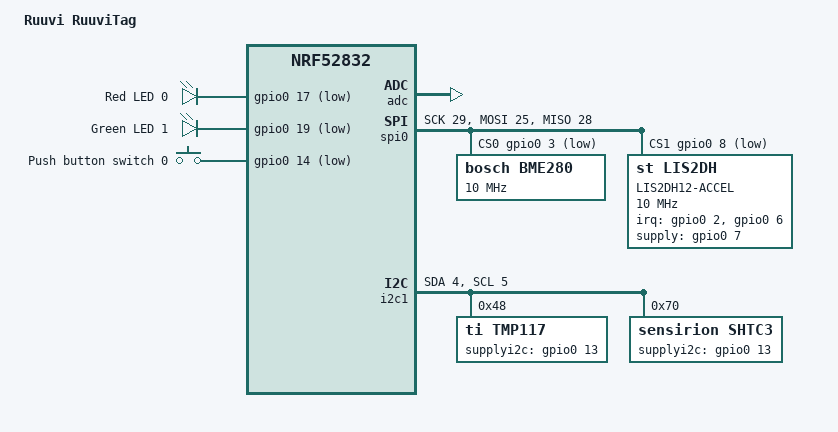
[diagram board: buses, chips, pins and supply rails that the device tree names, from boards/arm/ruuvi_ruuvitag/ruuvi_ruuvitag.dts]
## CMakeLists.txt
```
#
# Copyright (c) 2018 Nordic Semiconductor
#
# SPDX-License-Identifier: LicenseRef-Nordic-5-Clause
#
cmake_minimum_required(VERSION 3.20.0)

# Add external Drivers
list(APPEND ZEPHYR_EXTRA_MODULES ${CMAKE_CURRENT_SOURCE_DIR}/drivers/lis2dh12)
list(APPEND ZEPHYR_EXTRA_MODULES ${CMAKE_CURRENT_SOURCE_DIR}/drivers/tmp117)
list(APPEND ZEPHYR_EXTRA_MODULES ${CMAKE_CURRENT_SOURCE_DIR}/drivers/shtc3)


# Add the board
set(BOARD_ROOT ${CMAKE_CURRENT_LIST_DIR})

find_package(Zephyr REQUIRED HINTS $ENV{ZEPHYR_BASE})
project(ruuvitag)

target_sources(app PRIVATE src/main.c)

zephyr_include_directories(src)

add_subdirectory(src/led_handler)
add_subdirectory(src/button_handler)
add_subdirectory(src/board_info)
add_subdirectory(src/ruuvi_endpoint)
add_subdirectory(src/nfc_handler)
add_subdirectory(src/bt_handler)

###############Sensors###############
add_subdirectory(src/sensor_handler)
add_subdirectory(src/battery_handler)
add_subdirectory_ifdef(CONFIG_TMP117 src/tmp117_handler)
add_subdirectory_ifdef(CONFIG_BME280 src/bme280_handler)
add_subdirectory_ifdef(CONFIG_LIS2DH12 src/lis2dh12_handler)
add_subdirectory_ifdef(CONFIG_SHTC3 src/shtc3_handler)
```

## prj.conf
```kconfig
#
# Copyright (c) 2018 Nordic Semiconductor
#
# SPDX-License-Identifier: LicenseRef-Nordic-5-Clause
#

# Enable rebooting
CONFIG_REBOOT=y

#Power Management
CONFIG_BOARD_ENABLE_DCDC=y
CONFIG_PM=y
CONFIG_PM_DEVICE=y
CONFIG_PM_DEVICE_RUNTIME=y

#Enable Hardware Info - allows serial to be retrieved
CONFIG_HWINFO=y
CONFIG_HWINFO_NRF=y

#Enable Peripheral Drivers
CONFIG_SPI=y
CONFIG_I2C=y
CONFIG_GPIO=y
CONFIG_ADC=y
CONFIG_ADC_ASYNC=y


#Enable Sensors Drivers
CONFIG_SENSOR=y
CONFIG_TMP117=n
CONFIG_BME280=n
CONFIG_SHTC3=y
CONFIG_DPS310=n
CONFIG_LIS2DH12=y


CONFIG_APPLICATION_DEFINED_SYSCALL=y

CONFIG_HEAP_MEM_POOL_SIZE=2048

#Enable Bluetooth API's
CONFIG_BT=y
CONFIG_BT_BROADCASTER=y
CONFIG_BT_PERIPHERAL=y
CONFIG_BT_GATT_CLIENT=y
CONFIG_BT_GATT_CACHING=n

CONFIG_BT_DEVICE_NAME="Ruuvi"
CONFIG_BT_DEVICE_APPEARANCE=833
CONFIG_BT_MAX_CONN=1
CONFIG_BT_MAX_PAIRED=1
CONFIG_BT_BAS=y

# Enable DIS Service
CONFIG_BT_DIS=y
CONFIG_BT_DIS_PNP=n
CONFIG_BT_DIS_MODEL="NRF52DK33"
CONFIG_BT_DIS_MANUF="Nordisk"
CONFIG_BT_DIS_SERIAL_NUMBER=n
CONFIG_BT_DIS_FW_REV=y
CONFIG_BT_DIS_HW_REV=y
CONFIG_BT_DIS_SW_REV=n
CONFIG_BT_DIS_SERIAL_NUMBER_STR="1"
CONFIG_BT_DIS_FW_REV_STR="Zephyr FW v0.0.1"
CONFIG_BT_DIS_HW_REV_STR="Check BCP"
CONFIG_BT_DIS_SW_REV_STR=""
CONFIG_BT_DIS_SETTINGS=y
CONFIG_BT_DIS_STR_MAX=21
CONFIG_SETTINGS=y

# Enable the NUS service
CONFIG_BT_NUS=n

CONFIG_NFC_T2T_NRFXLIB=y
CONFIG_NFC_NDEF=y
CONFIG_NFC_NDEF_MSG=y
CONFIG_NFC_NDEF_RECORD=y
CONFIG_NFC_NDEF_TEXT_RECORD=y

# Needed for full libC library
CONFIG_NEWLIB_LIBC=y

# Config logger
CONFIG_LOG=y
CONFIG_USE_SEGGER_RTT=y

# Enable bonding
CONFIG_BT_SETTINGS=y
CONFIG_SETTINGS_RUNTIME=y
CONFIG_SETTINGS=y
CONFIG_SETTINGS_NONE=y

#Increase Stack Size
CONFIG_SYSTEM_WORKQUEUE_STACK_SIZE=4096

# Needed for full libC library
CONFIG_NEWLIB_LIBC=y
```

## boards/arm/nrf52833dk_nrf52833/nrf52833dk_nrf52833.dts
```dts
/*
 * Copyright (c) 2019 Nordic Semiconductor ASA
 * Modification  Lueger 12.12.2021
 * SPDX-License-Identifier: Apache-2.0
 */

/dts-v1/;
#include <nordic/nrf52833_qiaa.dtsi>

/ {
	model = "Nordic nRF52833 DK NRF52833";
	compatible = "nordic,nrf52833-dk-nrf52833";

	chosen {
		zephyr,console = &uart0;
		zephyr,shell-uart = &uart0;
		zephyr,uart-mcumgr = &uart0;
		zephyr,bt-mon-uart = &uart0;
		zephyr,bt-c2h-uart = &uart0;
		zephyr,sram = &sram0;
		zephyr,flash = &flash0;
		zephyr,code-partition = &slot0_partition;
	};

	leds {
		compatible = "gpio-leds";
		led0: led_0 {
			gpios = <&gpio0 13 GPIO_ACTIVE_LOW>;
			label = "Green LED 0";
		};
		led1: led_1 {
			gpios = <&gpio0 14 GPIO_ACTIVE_LOW>;
			label = "Green LED 1";
		};
	};

	pwmleds {
		compatible = "pwm-leds";
		pwm_led0: pwm_led_0 {
			pwms = <&pwm0 17>;
		};
	};

	buttons {
		compatible = "gpio-keys";
		button0: button_0 {
			gpios = <&gpio0 11 (GPIO_PULL_UP | GPIO_ACTIVE_LOW)>;
			label = "Push button switch 0";
		};
		button1: button_1 {
			gpios = <&gpio0 12 (GPIO_PULL_UP | GPIO_ACTIVE_LOW)>;
			label = "Push button switch 1";
		};
		
	};

	/* These aliases are provided for compatibility with samples */
	aliases {
		led0 = &led0;
		led1 = &led1;
		pwm-led0 = &pwm_led0;
		sw0 = &button0;
		sw1 = &button1;
		bootloader-led0 = &led0;
		usbd0 = &usbd;
		
		};
};

&adc {
	status = "okay";
};

&gpiote {
	status = "okay";
};

&gpio0 {
	status = "okay";
};

&gpio1 {
	status = "okay";
};

&uart0 {
	compatible = "nordic,nrf-uarte";
	status = "okay";
	current-speed = <115200>;
	tx-pin = <20>;
	rx-pin = <19>;
	rts-pin = <18>;
	cts-pin = <17>;
};

/*
arduino_serial: &uart1 {
	status = "okay";
	current-speed = <115200>;
	rx-pin = <33>;
	tx-pin = <34>;
};
*/



&pwm0 {
	status = "okay";
	ch0-pin = <19>;
	ch0-inverted;
};

&spi0 {
	compatible = "nordic,nrf-spi";
	status = "okay";
	
	miso-pin = <31>;
        sck-pin = <30>;
        mosi-pin = <29>;

	cs-gpios = <&gpio0 28 GPIO_ACTIVE_LOW>;
        
	ecg0:ti_ads1292@0 {
		compatible = "ti,ads1292";
		reg = <0>;
		spi-max-frequency = <125000>;
		label= "ADS1292";
                supply-gpios = <&gpio1 4 GPIO_ACTIVE_HIGH>;
                int-gpios = <&gpio0 20 GPIO_ACTIVE_HIGH>;
                start-gpios = <&gpio0 21 GPIO_ACTIVE_HIGH>;
	};

};

&i2c1 {
	compatible = "nordic,nrf-twi";
	status = "okay";
	sda-pin = <6>; 
	scl-pin = <5>;
		ti_tmp117: ti_tmp117@48 {
		compatible = "ti,tmp117";
		reg = <0x48>;
		label = "TMP117";
		alert-gpios = <&gpio0 22 GPIO_ACTIVE_HIGH>;
		supplyi2c-gpios = <&gpio0 3 GPIO_ACTIVE_HIGH >;

	};
};


&flash0 {

	partitions {
		compatible = "fixed-partitions";
		#address-cells = <1>;
		#size-cells = <1>;

		boot_partition: partition@0 {
			label = "mcuboot";
			reg = <0x000000000 0xC000>;
		};
		slot0_partition: partition@c000 {
			label = "image-0";
			reg = <0x0000C000 0x32000>;
		};
		slot1_partition: partition@3e000 {
			label = "image-1";
			reg = <0x0003E000 0x32000>;
		};
		scratch_partition: partition@70000 {
			label = "image-scratch";
			reg = <0x00070000 0xA000>;
		};
		storage_partition: partition@7a000 {
			label = "storage";
			reg = <0x0007A000 0x00006000>;
		};
	};
};

&usbd {
	compatible = "nordic,nrf-usbd";
	status = "okay";
};
```

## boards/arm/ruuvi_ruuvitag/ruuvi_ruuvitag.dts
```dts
/*
 * Copyright (c) 2020 Ruuvi Innovations Ltd (Oy)
 *
 * SPDX-License-Identifier: Apache-2.0
 */

/dts-v1/;
#include <nordic/nrf52832_qfaa.dtsi>

/ {
	model = "Ruuvi RuuviTag";
	compatible = "ruuvi,ruuvitag";

	chosen {
		zephyr,sram = &sram0;
		zephyr,flash = &flash0;
		zephyr,code-partition = &slot0_partition;
	};

	/* These aliases are provided for compatibility with samples */
	aliases {
		led0 = &led0;
		led1 = &led1;
		sw0 = &button0;
		//snp1 = &snp1;
		//snp2 = &snp2;
	};

	leds {
		compatible = "gpio-leds";
		led0: led_0 {
			gpios = <&gpio0 17 GPIO_ACTIVE_LOW>; //17
			label = "Red LED 0";
		};
		led1: led_1 {
			gpios = <&gpio0 19 GPIO_ACTIVE_LOW>; //
			label = "Green LED 1";
		};
	};

	buttons {
		compatible = "gpio-keys";
		button0: button_0 {
			gpios = <&gpio0 14 (GPIO_PULL_UP | GPIO_ACTIVE_LOW)>;
			label = "Push button switch 0";
		};
	};

	/*sensor_power {
		compatible = "gpio-keys";
		snp1: sensor_power_1 {
			gpios = <&gpio0 12 GPIO_ACTIVE_LOW>;
			label = "Power 1";
		};
		snp2: sensor_power_2 {
			gpios = <&gpio0 07 GPIO_ACTIVE_LOW>;
			label = "Power 2";
		};
	};
*/
};

&adc {
	status = "okay";
};

&gpiote {
	status = "okay";
};

&gpio0 {
	status = "okay";
};

&spi0 {
	compatible = "nordic,nrf-spi";
	status = "okay";
	sck-pin = <29>;
	mosi-pin = <25>;
	miso-pin = <28>;
	cs-gpios = <&gpio0 3 GPIO_ACTIVE_LOW>, <&gpio0 8 GPIO_ACTIVE_LOW>;

	bme280@0 {
		compatible = "bosch,bme280";
		reg = <0>;
		spi-max-frequency = <10000000>;
		label= "BME280";
	};

	lis2dh12: lis2dh12@1 {
		compatible = "st,lis2dh", "st,lis2dh12";
		reg = <1>;
		spi-max-frequency = <10000000>;
		irq-gpios =  <&gpio0 2 GPIO_ACTIVE_HIGH>, <&gpio0 6 GPIO_ACTIVE_HIGH>;
		label = "LIS2DH12-ACCEL";
		supply-gpios = <&gpio0 7 GPIO_ACTIVE_HIGH>;
	};
};
&i2c1 {
	compatible = "nordic,nrf-twi";
	status = "okay";
	sda-pin = <4>;
	scl-pin = <5>;

	ti_tmp117: ti_tmp117@48 {
		compatible = "ti,tmp117";
		reg = <0x48>;
		label = "TMP117";
		//alert-gpios = <&gpio0 16 GPIO_ACTIVE_HIGH>;
		supplyi2c-gpios = <&gpio0 13 GPIO_ACTIVE_HIGH>;
	};
        	sensirion_shtc3: shtc3@70 {
		compatible = "sensirion,shtc3";
		reg = <0x70>;
		label = "SHTC3";
		chip = "shtc3";
		measure-mode = "normal";
		supplyi2c-gpios= <&gpio0 13 GPIO_ACTIVE_HIGH>;
	};
};

&flash0 {

	partitions {
		compatible = "fixed-partitions";
		#address-cells = <1>;
		#size-cells = <1>;

		boot_partition: partition@0 {
			label = "mcuboot";
			reg = <0x00000000 0xc000>;
		};
		slot0_partition: partition@c000 {
			label = "image-0";
			reg = <0x0000C000 0x32000>;
		};
		slot1_partition: partition@3e000 {
			label = "image-1";
			reg = <0x0003E000 0x32000>;
		};
		scratch_partition: partition@70000 {
			label = "image-scratch";
			reg = <0x00070000 0xa000>;
		};

		/*
		 * The flash starting at 0x0007a000 and ending at
		 * 0x0007ffff (sectors 122-127) is reserved for use
		 * by the application.
		 * Storage partition will be used by FCB/LittleFS/NVS
		 * if enabled.
		 */
		storage_partition: partition@7a000 {
			label = "storage";
			reg = <0x0007a000 0x00006000>;
		};
	};
};
```

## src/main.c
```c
/*
 * Copyright (c) 2020 theB@STI0N
 *
 * SPDX-License-Identifier: MIT
 */

#include <zephyr.h>
#include <device.h>
#include <drivers/sensor.h>
#include <drivers/gpio.h>
#include <power/reboot.h>
#include <pm/pm.h>
#include <stdio.h>
#include <sys/util.h>
#ifdef CONFIG_BOOTLOADER_MCUBOOT
#include "dfu/mcuboot.h"
#endif
#ifdef CONFIG_MCUMGR_CMD_FS_MGMT
#include <device.h>
#include <fs/fs.h>
#include "fs_mgmt/fs_mgmt.h"
#include <fs/littlefs.h>
#endif
#ifdef CONFIG_MCUMGR_CMD_OS_MGMT
#include "os_mgmt/os_mgmt.h"
#endif
#ifdef CONFIG_MCUMGR_CMD_IMG_MGMT
#include "img_mgmt/img_mgmt.h"
#endif

#include "ruuvi.h"
#include "led_handler.h"
#include "button_handler.h"
#include "board_info.h"
#include "bt_handler.h"

#include "sensor_handler.h"
#include "nfc_handler.h"

#include <logging/log.h>
LOG_MODULE_REGISTER(ruuvitag, CONFIG_RUUVITAG_LOG_LEVEL);

#ifdef CONFIG_MCUMGR_CMD_FS_MGMT
FS_LITTLEFS_DECLARE_DEFAULT_CONFIG(cstorage);
static struct fs_mount_t littlefs_mnt = {
	.type = FS_LITTLEFS,
	.fs_data = &cstorage,
	.storage_dev = (void *)FLASH_AREA_ID(storage),
	.mnt_point = "/lfs"
};
#endif

static void dfu_init(void){
	/* Register the built-in mcumgr command handlers. */
#ifdef CONFIG_MCUMGR_CMD_FS_MGMT
	int rc = fs_mount(&littlefs_mnt);
	if (rc < 0) {
		LOG_ERR("Error mounting littlefs [%d]", rc);
	}

	fs_mgmt_register_group();
#endif
#ifdef CONFIG_MCUMGR_CMD_OS_MGMT
	os_mgmt_register_group();
#endif
#ifdef CONFIG_MCUMGR_CMD_IMG_MGMT
	img_mgmt_register_group();
#endif
}

static int64_t lastPressed = 0;
static int64_t btn_time = 0;

static struct gpio_callback button_cb_data;

static void button_pressed(const struct device *dev, struct gpio_callback *cb,
		    uint32_t pins)
{
	btn_time = k_uptime_get();
	
	if (btn_time - lastPressed > 1000){
		toggle_red(1);
		toggle_green(1);
	}
	lastPressed = btn_time;
}

static void init_peripherals(void)
{
	led_init();

	button_init();
	
	/*
	 * This could be used in the future to perform any numbers 
	 * of tasks.
	 */
	if(button_pressed_state()){
		LOG_INF("Button Pressed at boot.\n");
	}
	button_int_setup(&button_cb_data, button_pressed);

	/*
	 * Initialises the sensors and makes them ready to fill the
	 * BLE TX buffer.
	 */
	sensor_init();
}

void main(void)
{	
	LOG_INF("Ruuvitag Started");
	LOG_INF("FW Version: %s", log_strdup(CONFIG_FIRMWARE_VERSION));

	init_peripherals();


	/*
	 * Enables the filsesystem and mgmt groups that are required to
	 * enable dfu functionality.
	 */
	dfu_init();

	/* Initialize the Bluetooth Subsystem.*/
	bt_init();
	/* NFC must be done after BT so that MAC can be received. */
	nfc_init();

	while (true) {
		toggle_green(1);
		udpate_sensor_data();
		/* Turn LEDs off */
		toggle_green(0);
		k_sleep(K_MSEC(1000));
	}
}
```

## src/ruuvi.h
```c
/*
 * Copyright (c) 2020 theB@STI0N
 *
 * SPDX-License-Identifier: MIT
 */
#ifndef RUUVI_H_
#define RUUVI_H_

#pragma once

#include <zephyr.h>
#include <stdint.h>
#include <stdbool.h>

#ifdef CONFIG_RUUVITAG_NFC_SENSOR_DATA
#define RUUVI_NFC_REFRESH CONFIG_RUUVITAG_NFC_SENSOR_DATA_FREQUENCY * 1000 * 60
#endif
#define RUUVI_DFU_TIMEOUT CONFIG_RUUVITAG_DFU_TIMEOUT * 1000 * 60
#define RUUVI_COMPANY_ID 0x0499
#define RUUVI_MFG_OFFSET 2
#define RUUVI_RAWv2 0x05
#define RUUVI_ZEPHYR_PACKET 0x09
#define RUUVI_RAWv2_LEN 24
#define RUUVI_DSN_LENGTH_BYTES 8
#define RUUVI_DSN_LENGTH_CHAR RUUVI_DSN_LENGTH_BYTES*2
#define RUUVI_BLE_PASSKEY 9904

#ifdef CONFIG_BT_CTLR_TX_PWR_PLUS_4
#define RUUVI_TX_POWER 4
#endif
#ifdef CONFIG_BT_CTLR_TX_PWR_0
#define RUUVI_TX_POWER 0
#endif
#ifdef CONFIG_BT_CTLR_TX_PWR_MINUS_4
#define RUUVI_TX_POWER -4
#endif
#ifdef CONFIG_BT_CTLR_TX_PWR_MINUS_8
#define RUUVI_TX_POWER -8
#endif
#ifdef CONFIG_BT_CTLR_TX_PWR_MINUS_12
#define RUUVI_TX_POWER -12
#endif
#ifdef CONFIG_BT_CTLR_TX_PWR_MINUS_16
#define RUUVI_TX_POWER -16
#endif
#ifdef CONFIG_BT_CTLR_TX_PWR_MINUS_20
#define RUUVI_TX_POWER -20
#endif

/*
 * NFC Variables
 */
#define RUUVI_MAX_REC_COUNT		        7
#define RUUVI_NFC_ZEPHYR_VERSION_LEN    15
#define RUUVI_NFC_NCS_VERSION_LEN       11
#define RUUVI_NFC_FW_VERSION_LEN		10
#define RUUVI_NFC_AD_LEN 		        24
#define RUUVI_NFC_SERIAL_LEN 		    29
#define RUUVI_NFC_DATA_LEN              150
#define RUUVI_NDEF_MSG_BUF_SIZE	        300

typedef struct mac_address_bin
{
    uint8_t mac[6];
} mac_address_bin_t;

typedef struct sensor_data
{
    int16_t x;
    int16_t y;
    int16_t z;
    int16_t vbatt;
    int32_t temperature;
    uint16_t pressure;
    uint32_t humidity;

} sensor_data_t;

typedef struct ble_data
{
    uint8_t id[2];
    uint8_t data[24];
} ble_data_t;



#endif /* RUUVI_H_ */
```
